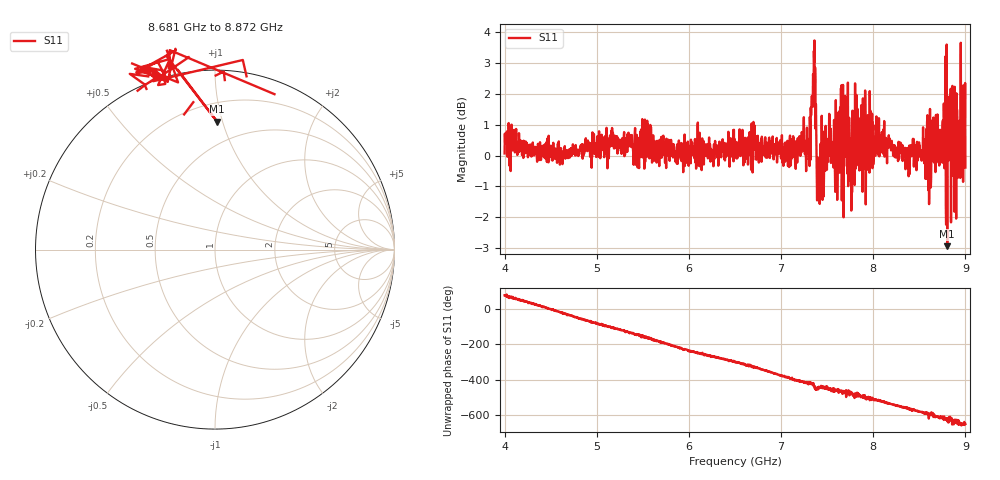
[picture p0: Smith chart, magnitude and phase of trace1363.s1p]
! Created with skrf 1.8.0 (http://scikit-rf.org).
# Hz S RI R 50.0
!freq ReS11 ImS11
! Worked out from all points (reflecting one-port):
!   1601 points, 4 GHz to 9 GHz, reference 50 ohm
!   lowest |S11| = -2.9 dB at 8.803 GHz (marker M1), VSWR 5.97, Z = 16.6 + j48 ohm
!   phase of S11 starts at 75 deg and turns -723 deg over the sweep
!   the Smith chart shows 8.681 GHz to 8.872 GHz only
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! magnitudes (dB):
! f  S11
! 4 GHz  0.1
! 4.625 GHz  -0.3
! 5.25 GHz  0.3
! 5.572 GHz  -0.1
! 5.625 GHz  0.5
! 5.875 GHz  0.0
! 6.5 GHz  0.1
! 7.125 GHz  0.5
! 7.294 GHz  0.1
! 7.347 GHz  2.6
! 7.372 GHz  2.5
! 7.409 GHz  -0.3
! 7.509 GHz  -0.2
! 7.609 GHz  -1.4
! 7.647 GHz  0.5
! 7.719 GHz  -0.6
! 7.75 GHz  -0.8
! 7.775 GHz  1.5
! 7.962 GHz  2.1
! 8.375 GHz  0.2
! 8.566 GHz  -0.8
! 8.603 GHz  -0.6
! 8.656 GHz  0.9
! 8.803 GHz  -2.9
! 8.919 GHz  -0.1
! 8.928 GHz  0.7
! 8.972 GHz  0.6
! 9 GHz  -0.4
